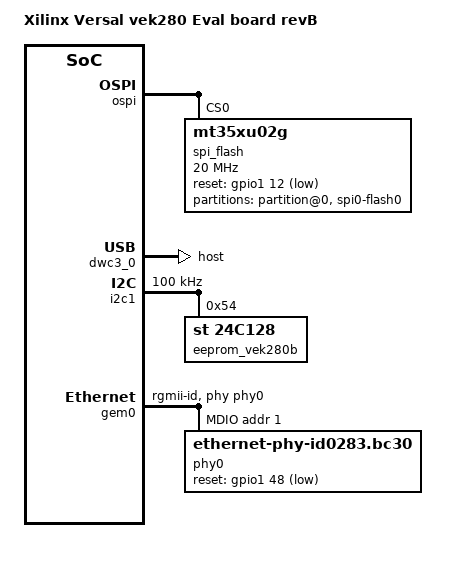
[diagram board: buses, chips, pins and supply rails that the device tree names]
// SPDX-License-Identifier: GPL-2.0
/*
 * dts file for Xilinx Versal VEK280 revB
 *
 * (C) Copyright 2022-2026 Advanced Micro Devices, Inc. All Rights Reserved.
 *
 * Michal Simek <michal.simek@amd.com>
 */

#include "include/gpio/gpio.h"

/ {
  compatible = "xlnx,versal-vek280-revB", "xlnx,versal-vek280",
         "xlnx,versal";
  model = "Xilinx Versal vek280 Eval board revB";


  chosen {
    bootargs = "console=ttyAMA0 earlycon=pl011,mmio32,0xFF000000,115200n8";
    stdout-path = "serial0:115200";
  };

  aliases {
    serial0 = &serial0;
    serial2 = &dcc;
    i2c0 = &i2c0;
    i2c1 = &i2c1;
    mmc0 = &sdhci1;
    spi0 = &ospi;
    usb0 = &usb0;
    rtc0 = &rtc;
    nvmem0 = &eeprom;
  };
};

/* VADJ_FMC_EN - LPD MIO23 */
/* FAN - LPD MIO21/22 */
/* VCC_PL_EN - LPD MIO20 */
/* PCIE_PERST - LPD MIO18/19 */
/* SD_BUSPWR - PMC MIO51 */
/* PCIE_WAKE - PMC MIO50 */
/* VCCPSLP_EN - PMC MIO49 */
/* I2C SYSMON - PMC MIO39 - 41 */
/* PCIE_PWRBRK - PMC MIO38 */
/* ZU4_TRIGGER - PMC MIO37 */
/* VCC_AUX_1V2 - MIO11 */


&ospi { /* PMC MIO0-10, 12, U297 MT35XU02G */
  bus-num = <2>;
  num-cs = <1>;
  #stream-id-cells = <1>;
  #address-cells = <1>;
  #size-cells = <0>;

  spi_flash: flash@0 {
    compatible = "mt35xu02g", "micron,m25p80", "jedec,spi-nor";
    reg = <0>;
    #address-cells = <1>;
    #size-cells = <1>;
    cdns,read-delay = <0>;
    cdns,tshsl-ns = <0>;
    cdns,tsd2d-ns = <0>;
    cdns,tchsh-ns = <1>;
    cdns,tslch-ns = <1>;
    spi-tx-bus-width = <8>;
    spi-rx-bus-width = <8>;
    spi-max-frequency = <20000000>;
    no-wp;
    reset-gpios = <&gpio1 12 GPIO_ACTIVE_LOW>;
    partition@0 {
      compatible = "fixed-partitions";
      #address-cells = <1>;
      #size-cells = <1>;

      partition@0 {
        label = "spi0-flash0";
        reg = <0 0x10000000>;
      };
    };
  };
};


&dwc3_0 { /* USB 2.0 host */
  dr_mode = "host";
  maximum-speed = "high-speed";
  snps,dis_u2_susphy_quirk;
  snps,dis_u3_susphy_quirk;
  snps,usb3_lpm_capable;
};

&sdhci1 { /* PMC_MIO26-36/51 */
  xlnx,mio-bank = <1>;
  no-1-8-v;
};


&i2c1 { /* PMC_MIO44/45 */
  bootph-all;
  clock-frequency = <100000>;

  /* Use for storing information about SC board */
  eeprom: eeprom@54 { /* u34 - m24128 16kB */
    compatible = "st,24c128", "atmel,24c128";
    label = "eeprom_vek280b";
    reg = <0x54>; /* & 0x5c */
    bootph-all;
  };
};


&gem0 { /* PMC_MIO_48, LPD_MIO0-11/24/25 */
  phy-handle = <&phy0>;
  phy-mode = "rgmii-id";
  mdio: mdio {
    #address-cells = <1>;
    #size-cells = <0>;
    phy0: ethernet-phy@1 { /* u198 - ADI1300 */
      #phy-cells = <1>;
      compatible = "ethernet-phy-id0283.bc30";
      reg = <1>;
      adi,rx-internal-delay-ps = <2000>;
      adi,tx-internal-delay-ps = <2000>;
      adi,fifo-depth-bits = <8>;
      reset-gpios = <&gpio1 48 GPIO_ACTIVE_LOW>;
      reset-assert-us = <10>;
      reset-deassert-us = <5000>;
    };
  };
};


